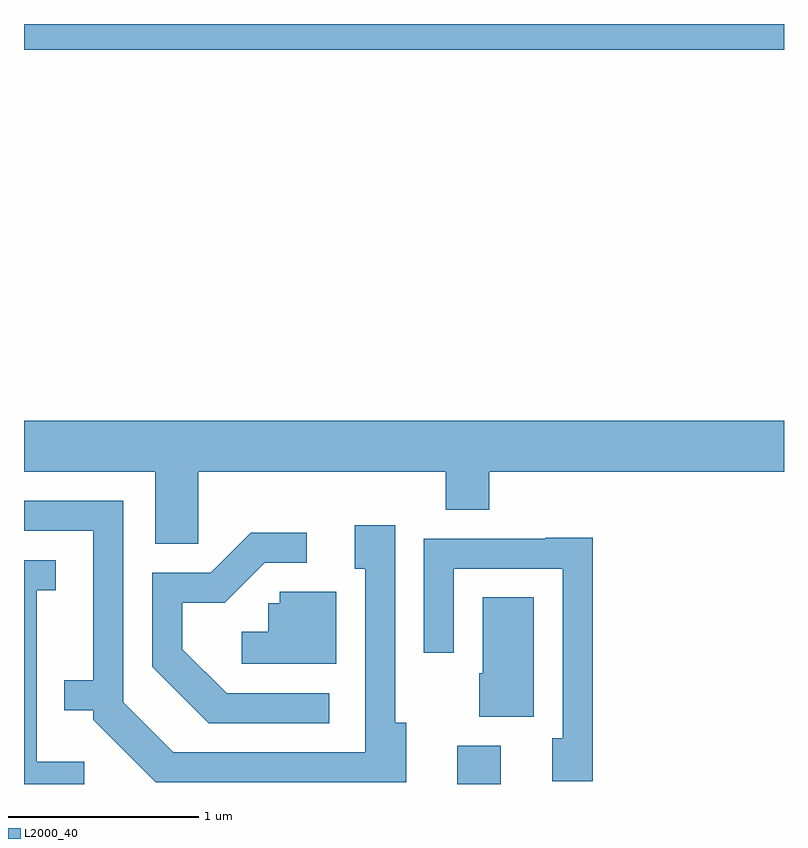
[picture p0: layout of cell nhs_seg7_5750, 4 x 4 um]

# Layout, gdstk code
import gdstk
lib = gdstk.Library(unit=1e-6, precision=1e-09)
def R(c, l, rs):  # rectangles x0, y0, x1, y1
    for r in rs: c.add(gdstk.rectangle(r[:2], r[2:], *l))
def P(c, l, *ps):  # polygons
    for p in ps: c.add(gdstk.Polygon(p, *l))
L2000_40 = (2000, 40)

nhs_seg7_5750 = lib.new_cell('nhs_seg7_5750')
R(nhs_seg7_5750, L2000_40, [(363.891,1688.252,364.119,1688.454), (361.611,1692.116,365.611,1692.252)])
P(nhs_seg7_5750, L2000_40, [(362.529,1689.896),(363.831,1689.896),(363.831,1689.696),(364.059,1689.696),(364.059,1689.896),(365.611,1689.896),(365.611,1690.164),(361.611,1690.164),(361.611,1689.896),(362.301,1689.896),(362.301,1689.516),(362.529,1689.516)],
  [(363.624,1688.574),(363.564,1688.574),(363.564,1689.614),(363.351,1689.614),(363.351,1689.386),(363.406,1689.386),(363.406,1688.419),(362.397,1688.419),(362.134,1688.682),(362.134,1689.744),(361.611,1689.744),(361.611,1689.586),(361.976,1689.586),(361.976,1688.799),(361.823,1688.799),(361.823,1688.641),(361.976,1688.641),(361.976,1688.589),(362.304,1688.261),(363.624,1688.261)],
  [(363.218,1688.729),(362.677,1688.729),(362.444,1688.962),(362.444,1689.206),(362.667,1689.206),(362.877,1689.416),(363.098,1689.416),(363.098,1689.574),(362.804,1689.574),(362.594,1689.364),(362.286,1689.364),(362.286,1688.869),(362.584,1688.571),(363.218,1688.571)],
  [(364.604,1689.549),(364.355,1689.549),(364.355,1689.544),(363.716,1689.544),(363.716,1688.943),(363.874,1688.943),(363.874,1689.386),(364.446,1689.386),(364.446,1688.494),(364.391,1688.494),(364.391,1688.266),(364.604,1688.266)],
  [(361.928,1688.369),(361.679,1688.369),(361.679,1689.271),(361.778,1689.271),(361.778,1689.429),(361.611,1689.429),(361.611,1688.252),(361.928,1688.252)],
  [(363.254,1689.264),(362.956,1689.264),(362.956,1689.204),(362.896,1689.204),(362.896,1689.054),(362.758,1689.054),(362.758,1688.886),(363.254,1688.886)],
  [(364.294,1689.234),(364.026,1689.234),(364.026,1688.834),(364.006,1688.834),(364.006,1688.606),(364.294,1688.606)])

lib.write_gds('nhs_seg7_5750.gds')
